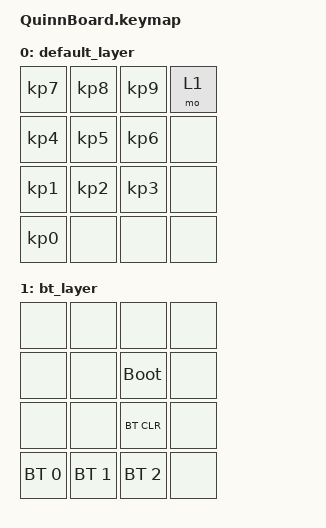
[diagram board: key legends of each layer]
#include <behaviors.dtsi>
#include <dt-bindings/zmk/keys.h>
#include <dt-bindings/zmk/bt.h>

/ {
    keymap {
        compatible = "zmk,keymap";

        default_layer {
            bindings = <
                &kp KP_N7   &kp KP_N8   &kp KP_N9   &mo 1
                &kp KP_N4   &kp KP_N5   &kp KP_N6   &none
                &kp KP_N1   &kp KP_N2   &kp KP_N3   &none
                &kp KP_N0   &none       &none       &none
            >;
        };

        bt_layer {
            bindings = <
                &none           &none           &none       &none
                &none           &none           &bootloader &none
                &none           &none           &bt BT_CLR  &none
                &bt BT_SEL 0    &bt BT_SEL 1    &bt BT_SEL2 &none
            >;  
        };
    };
};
